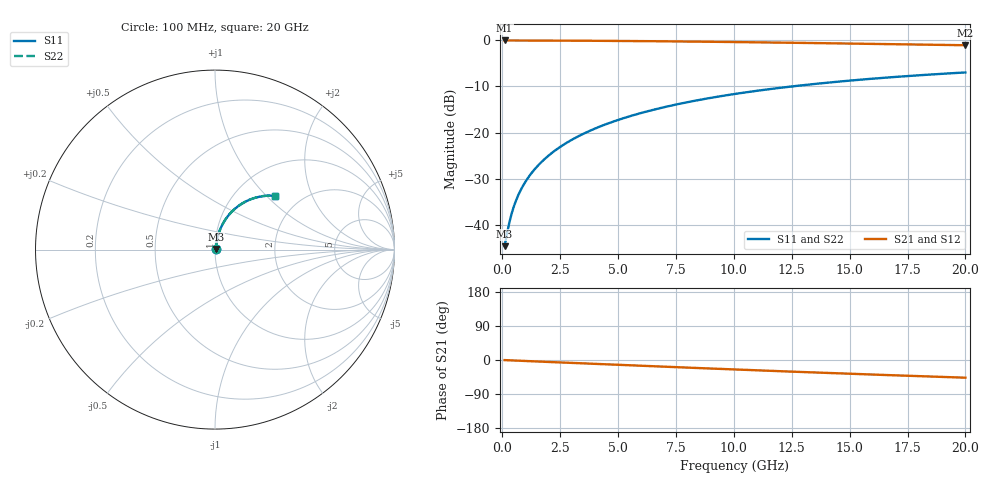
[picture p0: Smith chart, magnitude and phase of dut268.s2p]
! Touchstone file exported from HFSS 2026.1.0
!  File:  C:/ffzhzh/LocalFiles/Ansys_Project_Files/temp_train_TMRDL_268_1782985122_45328.aedt
!  Generated:  05:39:54 PM Jul  2, 2026
!  Design:  TMRDL
!  Project:  temp_train_TMRDL_268_1782985122_45328
! Variables:
!  h_bsmrdl = 2um
!  h_ox = 20um
!  h_rdl = 5um
!  h_sub = 80um
!  h_tmrdl = 2.07um
!  h_tsv = 80um
!  h_via = 3um
!  l_bsmrdl = 300um
!  l_sub = 1057.21um
!  l_tmrdl = 657.21um
!  m_sub = 200um
!  pitch = 55.27um
!  r_tsv = 6um
!  s_tmrdl = 10um
!  w_bsmrdl = 18um
!  w_sub = 500um
!  w_tmrdl = 23.89um
!  x_tsv_center1 = 669.155um
!  x_tsv_center2 = 987.155um
!  x_tsv_center3 = 1668.255um
!  x_tsv_center4 = 1986.255um
!  x_tsv_center5 = 2667.355um
!  x_tsv_center6 = 2985.355um
# GHz S MA R 50.000000
! Terminal data exported
! Port[1] = TM_RDL1_1_T1
! Port[2] = TM_RDL1_1_T2
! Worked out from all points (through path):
!   200 points, 100 MHz to 20 GHz, reference 50 ohm
!   highest |S21| = -0.04 dB at 100 MHz (marker M1); lowest = -1.1 dB at 20 GHz (marker M2)
!   group delay of S21, straight-line fit = 6.51 ps
!   lowest |S11| = -44.6 dB at 100 MHz (marker M3), VSWR 1.01, Z = 50.5 + j0.307 ohm
!   |S11| at or under -10 dB: start of sweep to 12.51 GHz
!   |S22| runs from -44.6 to -7.0 dB; largest |S21 - S12| = 2.6e-15
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0.1  0.005886 31.1  0.995 -0.3  0.995 -0.3  0.005886 31.1
! Gamma 0 0 0 0
! Port Impedance 50 0 50 0
0.2  0.007972 49.3  0.9948 -0.5  0.9948 -0.5  0.007972 49.3
0.3  0.0105 58.8  0.9946 -0.8  0.9946 -0.8  0.0105 58.8
0.4  0.01317 64.3  0.9944 -1.1  0.9944 -1.1  0.01317 64.3
0.5  0.01587 67.7  0.9942 -1.3  0.9942 -1.3  0.01587 67.7
0.6  0.01857 70.1  0.994 -1.6  0.994 -1.6  0.01857 70.1
0.8  0.02396 73.1  0.9936 -2.1  0.9936 -2.1  0.02396 73.1
1.1  0.03203 75.6  0.9931 -2.9  0.9931 -2.9  0.03203 75.6
1.3  0.03743 76.6  0.9928 -3.4  0.9928 -3.4  0.03743 76.6
1.6  0.04554 77.5  0.9923 -4.1  0.9923 -4.1  0.04554 77.5
2.1  0.0591 78.0  0.9915 -5.4  0.9915 -5.4  0.0591 78.0
2.7  0.07539 77.8  0.9903 -6.9  0.9903 -6.9  0.07539 77.8
3.5  0.09703 76.9  0.9882 -8.9  0.9882 -8.9  0.09703 76.9
4.2  0.1158 75.7  0.9861 -10.7  0.9861 -10.7  0.1158 75.7
5  0.137 74.2  0.9832 -12.7  0.9832 -12.7  0.137 74.2
5.9  0.1606 72.3  0.9795 -15.0  0.9795 -15.0  0.1605 72.3
6.8  0.1836 70.4  0.9752 -17.2  0.9752 -17.2  0.1836 70.4
8.3  0.2209 67.0  0.9672 -20.8  0.9672 -20.8  0.2209 67.1
10.1  0.2634 63.0  0.9561 -25.1  0.9561 -25.1  0.2634 63.0
13.4  0.3344 55.6  0.933 -32.7  0.933 -32.7  0.3344 55.7
16.7  0.396 48.6  0.9081 -39.9  0.9081 -39.9  0.396 48.7
20  0.4481 41.9  0.8833 -46.7  0.8833 -46.7  0.4481 42.0
